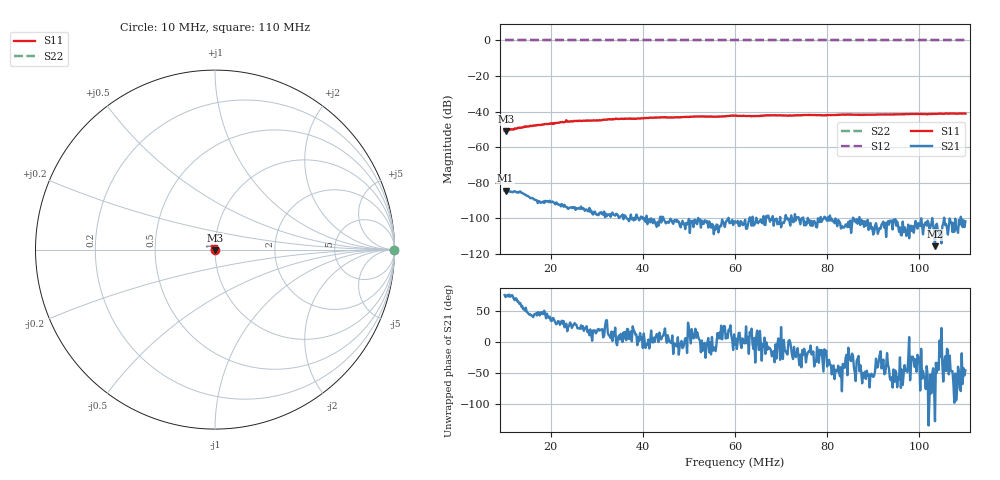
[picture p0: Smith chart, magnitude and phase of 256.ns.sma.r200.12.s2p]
! Anritsu VNA Master:  Model: MS2036C/10/77
! SN:  1601066
! /card0/usr/256.ns.sma.r200.12.s2p
! Existing Calibration Information:
! TYPE:  Current Settings,  Active Cal Settings
! TIME:  12/19/2017 03:43:58 PM,  12/19/2017 03:30:41 PM
! INTERNAL TEMP:  47.5 C,  48.0 C
! # POINTS:  501,  501
! START FREQ:  10.000 MHz,  10.000 MHz
! STOP FREQ:  110.000 MHz,  110.000 MHz
! SOURCE POWER:  High,  High
! IFBW:  100 Hz,  100 Hz
! AVG FACTOR:  1 ,  1
! REF PLANE 1:  0 mm,  0 mm
! REF PLANE 2:  0 mm,  0 mm
! CAL TYPE:  Full S11,  Full S11
! CAL METHOD:  SOLT,  SOLT
! CAL LINE TYPE:  Coax,  Coax
! DUT PORT 1:  N-Conn(F),  N-Conn(F)
! DUT PORT 2:  K-Conn(F),  K-Conn(F)
! CAL STATUS:  OK: Accuracy High,  --
# GHZ S DB R 50.0
! FREQ.GHZ  S11DB  S11A  S21DB  S21A  S12DB  S12A  S22DB  S22A
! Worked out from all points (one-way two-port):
!   501 points, 10 MHz to 110 MHz, reference 50 ohm
!   highest |S21| = -84.47 dB at 10.2 MHz (marker M1); lowest = -115.6 dB at 103.4 MHz (marker M2)
!   lowest |S11| = -51.1 dB at 10.4 MHz (marker M3), VSWR 1.01, Z = 49.9 - j0.27 ohm
!   |S11| at or under -10 dB: start of sweep to end of sweep
!   |S22| runs from 0.0 to 0.0 dB; largest |S21 - S12| = 1
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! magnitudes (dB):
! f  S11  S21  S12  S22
! 10 MHz  -50.6  -84.5  0.0  0.0
! 10.2 MHz  -50.7  -84.5  0.0  0.0
! 10.4 MHz  -51.1  -84.6  0.0  0.0
! 14.6 MHz  -48.6  -86.7  0.0  0.0
! 17.2 MHz  -47.5  -91.4  0.0  0.0
! 20.6 MHz  -46.9  -91.0  0.0  0.0
! 23.6 MHz  -45.6  -93.7  0.0  0.0
! 26.8 MHz  -45.2  -94.6  0.0  0.0
! 30.6 MHz  -44.8  -96.8  0.0  0.0
! 34.6 MHz  -44.1  -98.2  0.0  0.0
! 38 MHz  -44.0  -101.1  0.0  0.0
! 43.4 MHz  -43.3  -104.1  0.0  0.0
! 51.8 MHz  -42.7  -103.2  0.0  0.0
! 56 MHz  -42.8  -103.4  0.0  0.0
! 60 MHz  -42.2  -101.5  0.0  0.0
! 64 MHz  -42.5  -104.0  0.0  0.0
! 67.4 MHz  -42.1  -100.0  0.0  0.0
! 71.8 MHz  -42.1  -101.4  0.0  0.0
! 76.8 MHz  -41.9  -104.2  0.0  0.0
! 93.4 MHz  -41.6  -103.5  0.0  0.0
! 103.4 MHz  -41.2  -115.6  0.0  0.0
! 110 MHz  -41.0  -101.6  0.0  0.0
